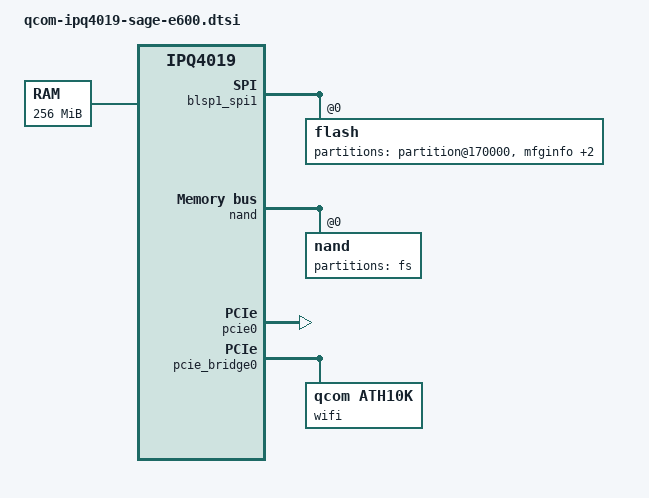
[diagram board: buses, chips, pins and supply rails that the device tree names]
// SPDX-License-Identifier: GPL-2.0-or-later OR MIT

#include "qcom-ipq4019-sage-dk07.dtsi"

/* E600 SKU 11: captured OEM AP-DK07.1-C1 tree and factory ART. */
/ {
	memory {
		reg = <0x80000000 0x10000000>;
	};
};

/* The DVK's SD pinmux overlaps the Sage status LEDs. */
&sdhci {
	status = "disabled";
};

&blsp1_spi1 {
	flash@0 {
		partitions {
			/delete-node/ partition@180000;
			/delete-node/ partition@1c0000;

			partition@170000 {
				nvmem-layout {
					e600_precal_5g: precal@9000 {
						reg = <0x9000 0x2f20>;
					};
				};
			};

			partition@180000 {
				label = "mfginfo";
				reg = <0x180000 0x10000>;
				read-only;
			};
			partition@190000 {
				label = "crashLog";
				reg = <0x190000 0x10000>;
				read-only;
			};
			partition@1a0000 {
				label = "config";
				reg = <0x1a0000 0x10000>;
				read-only;
			};
		};
	};
};

/* Expose NAND for diagnostics, but keep it read-only until qualification. */
&nand {
	status = "okay";

	nand@0 {
		reg = <0>;
		nand-ecc-strength = <4>;
		nand-ecc-step-size = <512>;
		nand-bus-width = <8>;
		#address-cells = <1>;
		#size-cells = <1>;

		partitions {
			compatible = "fixed-partitions";
			#address-cells = <1>;
			#size-cells = <1>;

			partition@0 {
				label = "fs";
				reg = <0x0 0x8000000>;
				read-only;
			};
		};
	};
};

&pcie0 {
	status = "okay";
	/* GPIO 38 is the reset line in the captured OEM tree. */
	perst-gpios = <&tlmm 38 GPIO_ACTIVE_LOW>;
	/delete-property/ wake-gpios;
};

&pcie_bridge0 {
	wifi@0,0 {
		compatible = "qcom,ath10k";
		reg = <0x00010000 0 0 0 0>;
		nvmem-cell-names = "pre-calibration";
		nvmem-cells = <&e600_precal_5g>;
	};
};

/* E600 uses PCIe QCA9984 instead of the second integrated radio. */
&wifi1 {
	status = "disabled";
};

/* E600 ART offset zero is not a MAC; do not inherit the DVK's LAN cells. */
&gmac {
	/delete-property/ nvmem-cell-names;
	/delete-property/ nvmem-cells;
};

&swport4 {
	/delete-property/ nvmem-cell-names;
	/delete-property/ nvmem-cells;
};
